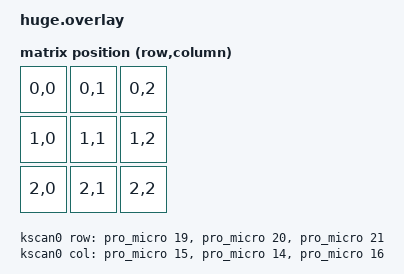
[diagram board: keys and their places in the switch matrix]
#include<dt-bindings/zmk/matrix_transform.h>

/ {
    chosen {
        zmk,kscan = &kscan0;
        zmk,matrix_transform = &default_transform;
    };

    kscan0: kscan_0 {
        compatible = "zmk,kscan-gpio-matrix";
        diode-direction = "col2row";
        col-gpios
            =    <&pro_micro 15 GPIO_ACTIVE_HIGH>
            , <&pro_micro 14 GPIO_ACTIVE_HIGH>
            , <&pro_micro 16 GPIO_ACTIVE_HIGH>
            ;

        row-gpios
            = <&pro_micro 19 (GPIO_ACTIVE_HIGH | GPIO_PULL_DOWN)>
            , <&pro_micro 20 (GPIO_ACTIVE_HIGH | GPIO_PULL_DOWN)>
            , <&pro_micro 21 (GPIO_ACTIVE_HIGH | GPIO_PULL_DOWN)>
            ;
    };
        
    default_transform: keymap_transform_0 {
        compatible = "zmk,matrix-transform";
        columns = <3>;
        rows = <3>;

        map = <
            RC(0,0) RC(0,1) RC(0,2)
            RC(1,0) RC(1,1) RC(1,2)
            RC(2,0) RC(2,1) RC(2,2)
        >;
    };

&spi0 {
    status = "okay";
    compatible = "nordic,nrf-spim";
    pinctrl-0 = <&spi0_default>;
    pinctrl-1 = <&spi0_sleep>;
    pinctrl-names = "default", "sleep";
    cs-gpios = <&gpio0 20 GPIO_ACTIVE_LOW>;

    trackball: trackball@0 {
        status = "okay";
        compatible = "pixart,pmw3320";
        reg = <0>;
        spi-max-frequency = <2000000>;
        irq-gpios = <&gpio0 6 (GPIO_ACTIVE_LOW | GPIO_PULL_UP)>;
        snipe-layers = <>; // optional indexes of snipe/precision layers
        scroll-layers = <>; // optional indexes of drag scroll layers
    };
};
};
